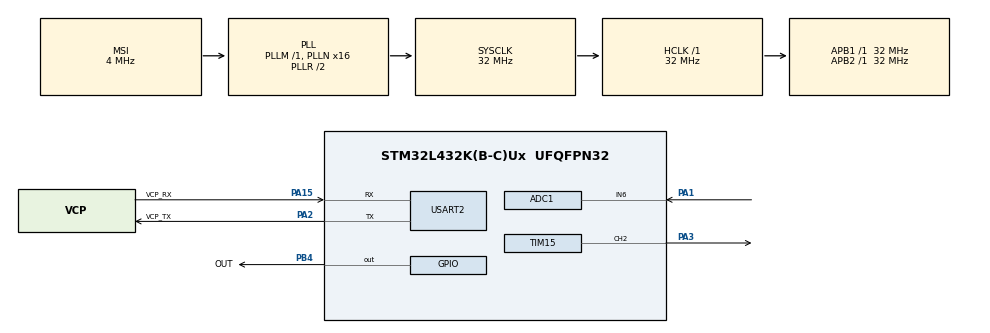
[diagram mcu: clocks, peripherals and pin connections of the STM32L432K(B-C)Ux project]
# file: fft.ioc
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ADC1.Channel-0\#ChannelRegularConversion=ADC_CHANNEL_6
ADC1.DMAContinuousRequests=ENABLE
ADC1.ExternalTrigConv=ADC_EXTERNALTRIG_T15_TRGO
ADC1.ExternalTrigConvEdge=ADC_EXTERNALTRIGCONVEDGE_FALLING
ADC1.NbrOfConversionFlag=1
ADC1.OffsetNumber-0\#ChannelRegularConversion=ADC_OFFSET_NONE
ADC1.Rank-0\#ChannelRegularConversion=1
ADC1.SamplingTime-0\#ChannelRegularConversion=ADC_SAMPLETIME_2CYCLES_5
ADC1.master=1
Dma.ADC1.0.Direction=DMA_PERIPH_TO_MEMORY
Dma.ADC1.0.Instance=DMA1_Channel1
Dma.ADC1.0.MemDataAlignment=DMA_MDATAALIGN_HALFWORD
Dma.ADC1.0.MemInc=DMA_MINC_ENABLE
Dma.ADC1.0.Mode=DMA_NORMAL
Dma.ADC1.0.PeriphDataAlignment=DMA_PDATAALIGN_HALFWORD
Dma.ADC1.0.PeriphInc=DMA_PINC_DISABLE
Dma.ADC1.0.Priority=DMA_PRIORITY_HIGH
Dma.Request0=ADC1
Mcu.Family=STM32L4
Mcu.Name=STM32L432K(B-C)Ux
Mcu.Package=UFQFPN32
NVIC.DMA1_Channel1_IRQn=true\:0\:0\:false\:false\:true\:false\:true\:true
NVIC.PriorityGroup=NVIC_PRIORITYGROUP_4
NVIC.RTC_WKUP_IRQn=true\:0\:0\:false\:false\:true\:true\:true\:true
PA0.GPIO_Label=MCO [High speed clock in]
PA0.Mode=HSE-External-Clock-Source-for-LittleOrca
PA0.Signal=RCC_CK_IN
PA1.Signal=ADCx_IN6
PA13\ (JTMS-SWDIO).GPIO_Label=SWDIO
PA13\ (JTMS-SWDIO).Mode=Serial_Wire
PA13\ (JTMS-SWDIO).Signal=SYS_JTMS-SWDIO
PA14\ (JTCK-SWCLK).GPIO_Label=SWCLK
PA14\ (JTCK-SWCLK).Mode=Serial_Wire
PA14\ (JTCK-SWCLK).Signal=SYS_JTCK-SWCLK
PA15\ (JTDI).GPIO_Label=VCP_RX
PA15\ (JTDI).Mode=Asynchronous
PA15\ (JTDI).Signal=USART2_RX
PA2.GPIO_Label=VCP_TX
PA2.Mode=Asynchronous
PA2.Signal=USART2_TX
PA3.Signal=S_TIM15_CH2
PB4\ (NJTRST).GPIO_Label=OUT
PB4\ (NJTRST).Signal=GPIO_Output
PC14-OSC32_IN\ (PC14).Mode=LSE-External-Oscillator
PC14-OSC32_IN\ (PC14).Signal=RCC_OSC32_IN
PC15-OSC32_OUT\ (PC15).Mode=LSE-External-Oscillator
PC15-OSC32_OUT\ (PC15).Signal=RCC_OSC32_OUT
ProjectManager.HeapSize=0x200
ProjectManager.StackSize=0x400
ProjectManager.TargetToolchain=Makefile
RCC.ADCFreq_Value=32000000
RCC.AHBFreq_Value=32000000
RCC.APB1Freq_Value=32000000
RCC.APB1TimFreq_Value=32000000
RCC.APB2Freq_Value=32000000
RCC.APB2TimFreq_Value=32000000
RCC.CortexFreq_Value=32000000
RCC.HCLKFreq_Value=32000000
RCC.HSE_VALUE=8000000
RCC.HSI16_VALUE=16000000
RCC.HSI48_VALUE=48000000
RCC.HSI_VALUE=16000000
RCC.MSI_VALUE=4000000
RCC.PLLMUL=RCC_PLLMUL_4
RCC.PLLN=16
RCC.PLLSAI1N=16
RCC.SYSCLKFreq_VALUE=32000000
RCC.SYSCLKSource=RCC_SYSCLKSOURCE_PLLCLK
RCC.USBFreq_Value=32000000
RCC.VCOOutputFreq_Value=64000000
RTC.WakeUpCounter=2047
SH.ADCx_IN6.0=ADC1_IN6,IN6-Single-Ended
SH.S_TIM15_CH2.0=TIM15_CH2,PWM Generation2 CH2
TIM15.Channel-PWM\ Generation2\ CH2=TIM_CHANNEL_2
TIM15.Period=1391
TIM15.Pulse-PWM\ Generation2\ CH2=320
TIM15.TIM_MasterOutputTrigger=TIM_TRGO_OC2REF
USART2.VirtualMode-Asynchronous=VM_ASYNC
VP_RTC_VS_RTC_Activate.Mode=RTC_Enabled
VP_RTC_VS_RTC_WakeUp_intern.Mode=WakeUp
board=NUCLEO-L432KC

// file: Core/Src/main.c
/* USER CODE BEGIN Header */
/**
 ******************************************************************************
 * @file           : main.c
 * @brief          : Main program body
 ******************************************************************************
 * @attention
 *
 * Copyright (c) 2026 STMicroelectronics.
 * All rights reserved.
 *
 * This software is licensed under terms that can be found in the LICENSE file
 * in the root directory of this software component.
 * If no LICENSE file comes with this software, it is provided AS-IS.
 *
 ******************************************************************************
 */
/* USER CODE END Header */
#include "main.h"

/* USER CODE BEGIN Includes */
#include <stdio.h>
#include <string.h>
#include <stdlib.h>
#include <stdint.h>
#include "arm_math.h"
/* USER CODE END Includes */

/* USER CODE BEGIN PD */
#define RATIO_THRESHOLD 0.41f
#define HOLD_TIME_MS 5000
#define REQUIRED_HITS 1
#define ADC_BUFFER_SIZE FFT_SIZE * REQUIRED_HITS * 2
#define RTC_WAKEUP_INTERVAL 1000 // in ms
#define RTC_CLOCK_FREQUENCY (32768 / 16)
#define WUT (((RTC_WAKEUP_INTERVAL / 1000) * RTC_CLOCK_FREQUENCY) - 1)

#define SAMPLE_RATE 23000
#define FFT_SIZE 1024
#define BAND_A_HZ 80
#define BAND_B_HZ 3000
/* USER CODE END PD */

ADC_HandleTypeDef hadc1;
DMA_HandleTypeDef hdma_adc1;

RTC_HandleTypeDef hrtc;

TIM_HandleTypeDef htim15;

UART_HandleTypeDef huart2;

/* USER CODE BEGIN PV */

volatile uint16_t adc_buffer[ADC_BUFFER_SIZE];

volatile uint8_t rtc_wakeup = 0;
volatile uint8_t dma_ready = 0;

volatile uint8_t signal_detected = 0;
volatile uint32_t last_trigger_time = 0;
uint8_t hit_counter = 0;
uint32_t rtc_ms = 0;

arm_rfft_fast_instance_f32 fftHandler;

float32_t fftInput[FFT_SIZE];
float32_t fftOutput[FFT_SIZE];

typedef struct
{
  float bandEnergy;
  float outsideEnergy;
  float signalRatio;
} FFT_Result_t;

// CPU MESSUNG
char msg[256];

#define CPU_MEASURE_BLOCKS 10

volatile uint32_t average_processing_cycles;
volatile uint64_t total_processing_cycles = 0;
volatile uint32_t measured_blocks = 0;

volatile uint32_t min_processing_cycles = UINT32_MAX;
volatile uint32_t max_processing_cycles = 0;

volatile uint32_t average_processing_time_us = 0;
volatile uint32_t min_processing_time_us = 0;
volatile uint32_t max_processing_time_us = 0;

volatile uint32_t average_cpu_load_x100 = 0;
volatile uint32_t min_cpu_load_x100 = 0;
volatile uint32_t max_cpu_load_x100 = 0;

volatile uint32_t total_block_time_us = 0;
volatile uint32_t block_time_us = 0;
volatile uint32_t avg_block_time = 0;

/* USER CODE END PV */

void SystemClock_Config(void);
static void MX_GPIO_Init(void);
static void MX_DMA_Init(void);
static void MX_ADC1_Init(void);
static void MX_TIM15_Init(void);
static void MX_RTC_Init(void);
static void MX_USART2_UART_Init(void);

/* USER CODE BEGIN 0 */
static void DWT_Init(void)
{
  CoreDebug->DEMCR |= CoreDebug_DEMCR_TRCENA_Msk;

  DWT->CYCCNT = 0;

  DWT->CTRL |= DWT_CTRL_CYCCNTENA_Msk;
}

void HAL_RTCEx_WakeUpTimerEventCallback(RTC_HandleTypeDef *hrtc)
{
  rtc_wakeup = 1;
}

void HAL_ADC_ConvCpltCallback(ADC_HandleTypeDef *hadc)
{
  dma_ready = 1;
}

uint16_t findOffset(volatile uint16_t *buffer, uint16_t length)
{
  uint32_t sum = 0;

  for (uint16_t i = 0; i < length; i++)
  {
    sum += buffer[i];
  }

  return sum / length;
}

FFT_Result_t calculateFFT(volatile uint16_t *buffer, uint16_t length, uint16_t offset)
{
  FFT_Result_t result = {0};

  // Offset entfernen

  for (uint16_t i = 0; i < FFT_SIZE; i++)
  {
    fftInput[i] = (float32_t)buffer[i] - offset;
  }

  // FFT berechnen

  arm_rfft_fast_f32(
      &fftHandler,
      fftInput,
      fftOutput,
      0);
  for (uint16_t bin = 1; bin < FFT_SIZE / 2; bin++)
  {
    float real = fftOutput[2 * bin];
    float imag = fftOutput[2 * bin + 1];

    float power = real * real + imag * imag;

    uint32_t frequency = (bin * SAMPLE_RATE) / FFT_SIZE;

    if (frequency >= BAND_A_HZ && frequency <= BAND_B_HZ)
    {
      result.bandEnergy += power;
    }
    else
    {
      result.outsideEnergy += power;
    }
  }

  if (result.bandEnergy + result.outsideEnergy > 0)
  {
    result.signalRatio = result.bandEnergy / (result.bandEnergy + result.outsideEnergy);
  }

  return result;
}
void ProcessAudioBlock(volatile uint16_t *buffer, uint16_t length)
{
  const uint16_t offset = findOffset(buffer, length);

  const uint16_t blocks = length / FFT_SIZE;

  for (uint16_t i = 0; i < blocks; i++)
  {
    // FFT-Berechnung
    FFT_Result_t fft = calculateFFT(&buffer[i * FFT_SIZE], FFT_SIZE, offset);

    // Schwellwertüberschreitung
    if (fft.signalRatio > RATIO_THRESHOLD)
    {
      last_trigger_time = rtc_ms;

      if (hit_counter < REQUIRED_HITS)
      {
        hit_counter++;
      }
    }
    else
    {
      hit_counter = 0;
    }

    // Signal erkannt
    if (!signal_detected && hit_counter >= REQUIRED_HITS)
    {
      signal_detected = 1;
      HAL_GPIO_WritePin(OUT_GPIO_Port, OUT_Pin, GPIO_PIN_SET);
    }

    // Wenn 5s kein Signal -> OFF
    if (signal_detected && (rtc_ms - last_trigger_time > HOLD_TIME_MS))
    {
      signal_detected = 0;
      HAL_GPIO_WritePin(OUT_GPIO_Port, OUT_Pin, GPIO_PIN_RESET);
    }
  }
}
/* USER CODE END 0 */

int main(void)
{

  /* MCU Configuration--------------------------------------------------------*/

  /* Reset of all peripherals, Initializes the Flash interface and the Systick. */
  HAL_Init();

  /* Configure the system clock */
  SystemClock_Config();

  /* Initialize all configured peripherals */
  MX_GPIO_Init();
  MX_DMA_Init();
  MX_ADC1_Init();
  MX_TIM15_Init();
  MX_RTC_Init();
  MX_USART2_UART_Init();
  /* USER CODE BEGIN 2 */
  HAL_RTCEx_SetWakeUpTimer_IT(&hrtc, WUT, RTC_WAKEUPCLOCK_RTCCLK_DIV16);
  arm_rfft_fast_init_f32(&fftHandler, FFT_SIZE);

  DWT_Init();

  int str = snprintf(
      msg,
      sizeof(msg),
      "blocks;avg_cycles;min_cycles;max_cycles;"
      "avg_us;min_us;max_us;"
      "avg_load;min_load;max_load;avg_block_time\r\n");

  HAL_UART_Transmit(
      &huart2,
      (uint8_t *)msg,
      str,
      HAL_MAX_DELAY);

  /* USER CODE END 2 */

  /* Infinite loop */
  /* USER CODE BEGIN WHILE */
  while (1)
  {
    if (rtc_wakeup)
    {
      rtc_ms += RTC_WAKEUP_INTERVAL;
      HAL_TIM_PWM_Start(&htim15, TIM_CHANNEL_2);
      HAL_ADC_Start_DMA(&hadc1, (uint32_t *)adc_buffer, ADC_BUFFER_SIZE);
      rtc_wakeup = 0;
    }

    if (dma_ready)
    {
      HAL_ADC_Stop_DMA(&hadc1);
      HAL_TIM_PWM_Stop(&htim15, TIM_CHANNEL_2);
      dma_ready = 0;
      uint32_t start = DWT->CYCCNT;
      ProcessAudioBlock(adc_buffer, ADC_BUFFER_SIZE);
      uint32_t cycles = DWT->CYCCNT - start;
      block_time_us = HAL_GetTick() - block_time_us;
      // Messwerte sammeln

      total_processing_cycles += cycles;
      measured_blocks++;
      total_block_time_us += block_time_us;
      // Minimum
      if (cycles < min_processing_cycles)
      {
        min_processing_cycles = cycles;
      }

      // Maximum
      if (cycles > max_processing_cycles)
      {
        max_processing_cycles = cycles;
      }

      // Mittelwerte berechnen

      if (measured_blocks >= CPU_MEASURE_BLOCKS)
      {
        /* Durchschnittliche CPU-Zyklen */
        average_processing_cycles = total_processing_cycles / measured_blocks;

        avg_block_time = total_block_time_us / measured_blocks;

        // Zyklen -> Zeit in Mikrosekunden

        average_processing_time_us =
            (uint32_t)(((uint64_t)average_processing_cycles * 1000000ULL) / SystemCoreClock);

        min_processing_time_us =
            (uint32_t)(((uint64_t)min_processing_cycles * 1000000ULL) / SystemCoreClock);

        max_processing_time_us =
            (uint32_t)(((uint64_t)max_processing_cycles * 1000000ULL) / SystemCoreClock);

        // CPU-Auslastung

        average_cpu_load_x100 =
            (uint32_t)(((uint64_t)average_processing_time_us * 10000ULL) / (avg_block_time * 1000UL));

        min_cpu_load_x100 =
            (uint32_t)(((uint64_t)min_processing_time_us * 10000ULL) / (avg_block_time * 1000UL));

        max_cpu_load_x100 =
            (uint32_t)(((uint64_t)max_processing_time_us * 10000ULL) / (avg_block_time * 1000UL));

        int len = snprintf(
            msg,
            sizeof(msg),
            "%lu;"
            "%lu;"
            "%lu;"
            "%lu;"
            "%lu;"
            "%lu;"
            "%lu;"
            "%lu,%02lu%%;"
            "%lu,%02lu%%;"
            "%lu,%02lu%%;"
            "%lu\r\n",

            (unsigned long)CPU_MEASURE_BLOCKS,

            (unsigned long)average_processing_cycles,
            (unsigned long)min_processing_cycles,
            (unsigned long)max_processing_cycles,

            (unsigned long)average_processing_time_us,
            (unsigned long)min_processing_time_us,
            (unsigned long)max_processing_time_us,

            (unsigned long)(average_cpu_load_x100 / 100),
            (unsigned long)(average_cpu_load_x100 % 100),

            (unsigned long)(min_cpu_load_x100 / 100),
            (unsigned long)(min_cpu_load_x100 % 100),

            (unsigned long)(max_cpu_load_x100 / 100),
            (unsigned long)(max_cpu_load_x100 % 100),

            (unsigned long)(avg_block_time));

        HAL_UART_Transmit(
            &huart2,
            (uint8_t *)msg,
            len,
            HAL_MAX_DELAY);

        // Messwerte zurücksetzen
        total_block_time_us = 0;
        total_processing_cycles = 0;
        measured_blocks = 0;

        min_processing_cycles = UINT32_MAX;
        max_processing_cycles = 0;
        total_block_time_us = 0;
      }
    }
    // Energieoptimierung
    HAL_SuspendTick();
    HAL_PWR_EnterSLEEPMode(PWR_LOWPOWERREGULATOR_ON, PWR_SLEEPENTRY_WFI);
    HAL_ResumeTick();
    /* USER CODE END WHILE */

  }
}

void SystemClock_Config(void)
{
  RCC_OscInitTypeDef RCC_OscInitStruct = {0};
  RCC_ClkInitTypeDef RCC_ClkInitStruct = {0};

  /** Configure the main internal regulator output voltage
   */
  if (HAL_PWREx_ControlVoltageScaling(PWR_REGULATOR_VOLTAGE_SCALE1) != HAL_OK)
  {
    Error_Handler();
  }

  /** Configure LSE Drive Capability
   */
  HAL_PWR_EnableBkUpAccess();
  __HAL_RCC_LSEDRIVE_CONFIG(RCC_LSEDRIVE_LOW);

  /** Initializes the RCC Oscillators according to the specified parameters
   * in the RCC_OscInitTypeDef structure.
   */
  RCC_OscInitStruct.OscillatorType = RCC_OSCILLATORTYPE_LSI | RCC_OSCILLATORTYPE_LSE | RCC_OSCILLATORTYPE_MSI;
  RCC_OscInitStruct.LSEState = RCC_LSE_ON;
  RCC_OscInitStruct.LSIState = RCC_LSI_ON;
  RCC_OscInitStruct.MSIState = RCC_MSI_ON;
  RCC_OscInitStruct.MSICalibrationValue = 0;
  RCC_OscInitStruct.MSIClockRange = RCC_MSIRANGE_6;
  RCC_OscInitStruct.PLL.PLLState = RCC_PLL_ON;
  RCC_OscInitStruct.PLL.PLLSource = RCC_PLLSOURCE_MSI;
  RCC_OscInitStruct.PLL.PLLM = 1;
  RCC_OscInitStruct.PLL.PLLN = 16;
  RCC_OscInitStruct.PLL.PLLP = RCC_PLLP_DIV7;
  RCC_OscInitStruct.PLL.PLLQ = RCC_PLLQ_DIV2;
  RCC_OscInitStruct.PLL.PLLR = RCC_PLLR_DIV2;
  if (HAL_RCC_OscConfig(&RCC_OscInitStruct) != HAL_OK)
  {
    Error_Handler();
  }

  /** Initializes the CPU, AHB and APB buses clocks
   */
  RCC_ClkInitStruct.ClockType = RCC_CLOCKTYPE_HCLK | RCC_CLOCKTYPE_SYSCLK | RCC_CLOCKTYPE_PCLK1 | RCC_CLOCKTYPE_PCLK2;
  RCC_ClkInitStruct.SYSCLKSource = RCC_SYSCLKSOURCE_PLLCLK;
  RCC_ClkInitStruct.AHBCLKDivider = RCC_SYSCLK_DIV1;
  RCC_ClkInitStruct.APB1CLKDivider = RCC_HCLK_DIV1;
  RCC_ClkInitStruct.APB2CLKDivider = RCC_HCLK_DIV1;

  if (HAL_RCC_ClockConfig(&RCC_ClkInitStruct, FLASH_LATENCY_1) != HAL_OK)
  {
    Error_Handler();
  }

  /** Enable MSI Auto calibration
   */
  HAL_RCCEx_EnableMSIPLLMode();
}

static void MX_ADC1_Init(void)
{

  ADC_ChannelConfTypeDef sConfig = {0};

  /** Common config
   */
  hadc1.Instance = ADC1;
  hadc1.Init.ClockPrescaler = ADC_CLOCK_ASYNC_DIV1;
  hadc1.Init.Resolution = ADC_RESOLUTION_12B;
  hadc1.Init.DataAlign = ADC_DATAALIGN_RIGHT;
  hadc1.Init.ScanConvMode = ADC_SCAN_DISABLE;
  hadc1.Init.EOCSelection = ADC_EOC_SINGLE_CONV;
  hadc1.Init.LowPowerAutoWait = DISABLE;
  hadc1.Init.ContinuousConvMode = DISABLE;
  hadc1.Init.NbrOfConversion = 1;
  hadc1.Init.DiscontinuousConvMode = DISABLE;
  hadc1.Init.ExternalTrigConv = ADC_EXTERNALTRIG_T15_TRGO;
  hadc1.Init.ExternalTrigConvEdge = ADC_EXTERNALTRIGCONVEDGE_FALLING;
  hadc1.Init.DMAContinuousRequests = ENABLE;
  hadc1.Init.Overrun = ADC_OVR_DATA_PRESERVED;
  hadc1.Init.OversamplingMode = DISABLE;
  if (HAL_ADC_Init(&hadc1) != HAL_OK)
  {
    Error_Handler();
  }

  /** Configure Regular Channel
   */
  sConfig.Channel = ADC_CHANNEL_6;
  sConfig.Rank = ADC_REGULAR_RANK_1;
  sConfig.SamplingTime = ADC_SAMPLETIME_2CYCLES_5;
  sConfig.SingleDiff = ADC_SINGLE_ENDED;
  sConfig.OffsetNumber = ADC_OFFSET_NONE;
  sConfig.Offset = 0;
  if (HAL_ADC_ConfigChannel(&hadc1, &sConfig) != HAL_OK)
  {
    Error_Handler();
  }
}

static void MX_RTC_Init(void)
{

  /** Initialize RTC Only
   */
  hrtc.Instance = RTC;
  hrtc.Init.HourFormat = RTC_HOURFORMAT_24;
  hrtc.Init.AsynchPrediv = 127;
  hrtc.Init.SynchPrediv = 255;
  hrtc.Init.OutPut = RTC_OUTPUT_DISABLE;
  hrtc.Init.OutPutRemap = RTC_OUTPUT_REMAP_NONE;
  hrtc.Init.OutPutPolarity = RTC_OUTPUT_POLARITY_HIGH;
  hrtc.Init.OutPutType = RTC_OUTPUT_TYPE_OPENDRAIN;
  if (HAL_RTC_Init(&hrtc) != HAL_OK)
  {
    Error_Handler();
  }
}

static void MX_TIM15_Init(void)
{

  TIM_MasterConfigTypeDef sMasterConfig = {0};
  TIM_OC_InitTypeDef sConfigOC = {0};
  TIM_BreakDeadTimeConfigTypeDef sBreakDeadTimeConfig = {0};

  htim15.Instance = TIM15;
  htim15.Init.Prescaler = 0;
  htim15.Init.CounterMode = TIM_COUNTERMODE_UP;
  htim15.Init.Period = 1391;
  htim15.Init.ClockDivision = TIM_CLOCKDIVISION_DIV1;
  htim15.Init.RepetitionCounter = 0;
  htim15.Init.AutoReloadPreload = TIM_AUTORELOAD_PRELOAD_DISABLE;
  if (HAL_TIM_PWM_Init(&htim15) != HAL_OK)
  {
    Error_Handler();
  }
  sMasterConfig.MasterOutputTrigger = TIM_TRGO_OC2REF;
  sMasterConfig.MasterSlaveMode = TIM_MASTERSLAVEMODE_DISABLE;
  if (HAL_TIMEx_MasterConfigSynchronization(&htim15, &sMasterConfig) != HAL_OK)
  {
    Error_Handler();
  }
  sConfigOC.OCMode = TIM_OCMODE_PWM1;
  sConfigOC.Pulse = 320;
  sConfigOC.OCPolarity = TIM_OCPOLARITY_HIGH;
  sConfigOC.OCNPolarity = TIM_OCNPOLARITY_HIGH;
  sConfigOC.OCFastMode = TIM_OCFAST_DISABLE;
  sConfigOC.OCIdleState = TIM_OCIDLESTATE_RESET;
  sConfigOC.OCNIdleState = TIM_OCNIDLESTATE_RESET;
  if (HAL_TIM_PWM_ConfigChannel(&htim15, &sConfigOC, TIM_CHANNEL_2) != HAL_OK)
  {
    Error_Handler();
  }
  sBreakDeadTimeConfig.OffStateRunMode = TIM_OSSR_DISABLE;
  sBreakDeadTimeConfig.OffStateIDLEMode = TIM_OSSI_DISABLE;
  sBreakDeadTimeConfig.LockLevel = TIM_LOCKLEVEL_OFF;
  sBreakDeadTimeConfig.DeadTime = 0;
  sBreakDeadTimeConfig.BreakState = TIM_BREAK_DISABLE;
  sBreakDeadTimeConfig.BreakPolarity = TIM_BREAKPOLARITY_HIGH;
  sBreakDeadTimeConfig.AutomaticOutput = TIM_AUTOMATICOUTPUT_DISABLE;
  if (HAL_TIMEx_ConfigBreakDeadTime(&htim15, &sBreakDeadTimeConfig) != HAL_OK)
  {
    Error_Handler();
  }
  HAL_TIM_MspPostInit(&htim15);
}

static void MX_USART2_UART_Init(void)
{

  huart2.Instance = USART2;
  huart2.Init.BaudRate = 115200;
  huart2.Init.WordLength = UART_WORDLENGTH_8B;
  huart2.Init.StopBits = UART_STOPBITS_1;
  huart2.Init.Parity = UART_PARITY_NONE;
  huart2.Init.Mode = UART_MODE_TX_RX;
  huart2.Init.HwFlowCtl = UART_HWCONTROL_NONE;
  huart2.Init.OverSampling = UART_OVERSAMPLING_16;
  huart2.Init.OneBitSampling = UART_ONE_BIT_SAMPLE_DISABLE;
  huart2.AdvancedInit.AdvFeatureInit = UART_ADVFEATURE_NO_INIT;
  if (HAL_UART_Init(&huart2) != HAL_OK)
  {
    Error_Handler();
  }
}

static void MX_DMA_Init(void)
{

  /* DMA controller clock enable */
  __HAL_RCC_DMA1_CLK_ENABLE();

  /* DMA interrupt init */
  /* DMA1_Channel1_IRQn interrupt configuration */
  HAL_NVIC_SetPriority(DMA1_Channel1_IRQn, 0, 0);
  HAL_NVIC_EnableIRQ(DMA1_Channel1_IRQn);
}

static void MX_GPIO_Init(void)
{
  GPIO_InitTypeDef GPIO_InitStruct = {0};

  /* GPIO Ports Clock Enable */
  __HAL_RCC_GPIOC_CLK_ENABLE();
  __HAL_RCC_GPIOA_CLK_ENABLE();
  __HAL_RCC_GPIOB_CLK_ENABLE();

  /*Configure GPIO pin Output Level */
  HAL_GPIO_WritePin(OUT_GPIO_Port, OUT_Pin, GPIO_PIN_RESET);

  /*Configure GPIO pin : OUT_Pin */
  GPIO_InitStruct.Pin = OUT_Pin;
  GPIO_InitStruct.Mode = GPIO_MODE_OUTPUT_PP;
  GPIO_InitStruct.Pull = GPIO_NOPULL;
  GPIO_InitStruct.Speed = GPIO_SPEED_FREQ_LOW;
  HAL_GPIO_Init(OUT_GPIO_Port, &GPIO_InitStruct);

}

void Error_Handler(void)
{
  __disable_irq();
  while (1)
  {
  }
}
